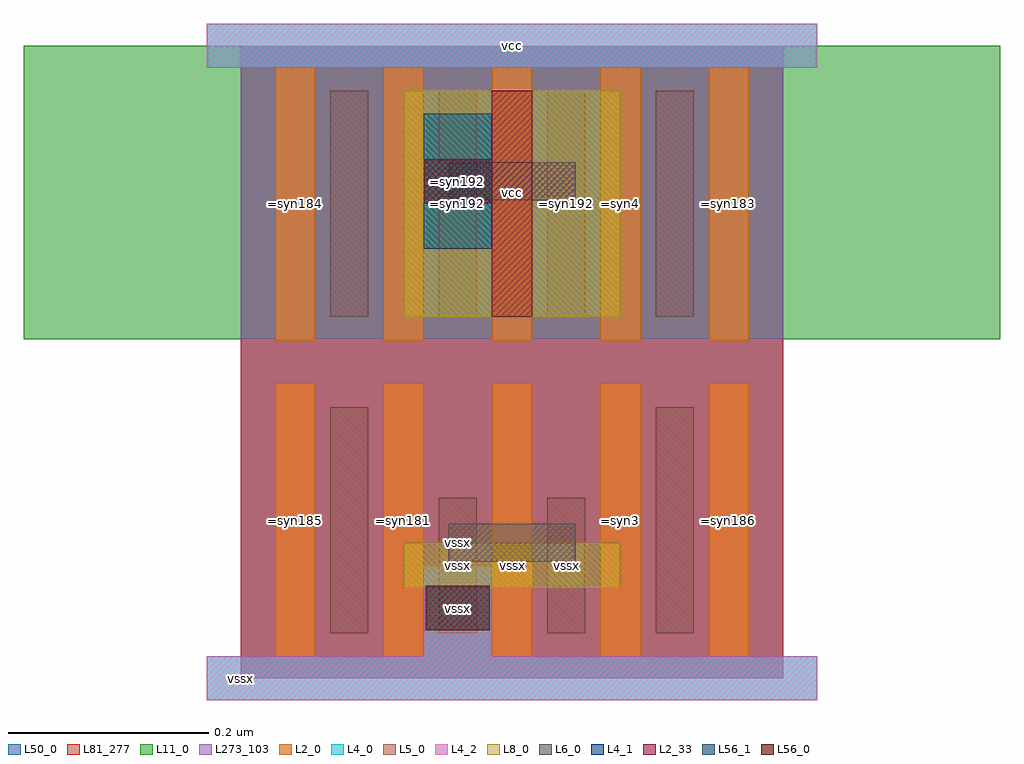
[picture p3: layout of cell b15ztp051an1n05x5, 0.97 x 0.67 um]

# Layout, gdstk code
import gdstk
lib = gdstk.Library(unit=1e-6, precision=5e-10)
def R(c, l, rs):  # rectangles x0, y0, x1, y1
    for r in rs: c.add(gdstk.rectangle(r[:2], r[2:], *l))
def A(c, l, x, y, w, h, nx, ny, dx, dy):  # array of equal rectangles
    R(c, l, [(x+i*dx, y+j*dy, x+i*dx+w, y+j*dy+h) for i in range(nx) for j in range(ny)])
def P(c, l, *ps):  # polygons
    for p in ps: c.add(gdstk.Polygon(p, *l))
L2_0 = (2, 0)
L2_33 = (2, 33)
L4_0 = (4, 0)
L4_1 = (4, 1)
L4_2 = (4, 2)
L5_0 = (5, 0)
L6_0 = (6, 0)
L8_0 = (8, 0)
L11_0 = (11, 0)
L50_0 = (50, 0)
L56_0 = (56, 0)
L56_1 = (56, 1)
L81_277 = (81, 277)
L273_103 = (273, 103)

b15ztp051an1n05x5 = lib.new_cell('b15ztp051an1n05x5')
A(b15ztp051an1n05x5, L2_0, 0.034, 0.021, 0.04, 0.273, 5, 2, 0.108, 0.315)
R(b15ztp051an1n05x5, L2_33, [(0.25,0.36,0.29,0.585)])
R(b15ztp051an1n05x5, L4_0, [(0.182,0.428,0.25,0.562), (-0.034,0.608,0.574,0.652)])
P(b15ztp051an1n05x5, L4_0, [(0.574,-0.022),(-0.034,-0.022),(-0.034,0.022),(0.182,0.022),(0.182,0.112),(0.25,0.112),(0.25,0.022),(0.574,0.022)])
R(b15ztp051an1n05x5, L4_1, [(0.182,0.428,0.25,0.562)])
R(b15ztp051an1n05x5, L4_2, [(-0.034,0.608,0.574,0.652)])
P(b15ztp051an1n05x5, L4_2, [(0.574,-0.022),(-0.034,-0.022),(-0.034,0.022),(0.182,0.022),(0.182,0.112),(0.25,0.112),(0.25,0.022),(0.574,0.022)])
A(b15ztp051an1n05x5, L5_0, 0.089, 0.36, 0.038, 0.225, 4, 1, 0.108, 0)
R(b15ztp051an1n05x5, L5_0, [(0.089,0.045,0.127,0.27), (0.197,0.045,0.235,0.18), (0.305,0.045,0.343,0.18), (0.413,0.045,0.451,0.27)])
R(b15ztp051an1n05x5, L6_0, [(0.207,0.116,0.333,0.154), (0.207,0.476,0.333,0.514)])
R(b15ztp051an1n05x5, L8_0, [(0.162,0.09,0.378,0.135), (0.162,0.36,0.378,0.585)])
R(b15ztp051an1n05x5, L11_0, [(-0.216,0.3375,0.756,0.63)])
R(b15ztp051an1n05x5, L50_0, [(0,0,0.54,0.63)])
R(b15ztp051an1n05x5, L56_0, [(0.184,0.048,0.248,0.092), (0.182,0.473,0.25,0.517)])
R(b15ztp051an1n05x5, L56_1, [(0.184,0.048,0.248,0.092), (0.182,0.473,0.25,0.517)])
R(b15ztp051an1n05x5, L81_277, [(0,0,0.54,0.63)])
R(b15ztp051an1n05x5, L273_103, [(0,0.3375,0.54,0.63)])
b15ztp051an1n05x5.add(gdstk.Label('vssx', (0,0), layer=81, texttype=6))
b15ztp051an1n05x5.add(gdstk.Label('vssx', (0.216,0.07), layer=56, texttype=1))
b15ztp051an1n05x5.add(gdstk.Label('vcc', (0.27,0.484), layer=11, texttype=0))
b15ztp051an1n05x5.add(gdstk.Label('=syn192', (0.216,0.4725), layer=8, texttype=0))
b15ztp051an1n05x5.add(gdstk.Label('=syn192', (0.216,0.495), layer=4, texttype=0))
b15ztp051an1n05x5.add(gdstk.Label('vcc', (0.27,0.63), layer=4, texttype=0))
b15ztp051an1n05x5.add(gdstk.Label('vssx', (0.216,0.07), layer=4, texttype=0))
b15ztp051an1n05x5.add(gdstk.Label('vcc', (0.27,0.63), layer=4, texttype=2))
b15ztp051an1n05x5.add(gdstk.Label('vssx', (0.216,0.067), layer=4, texttype=2))
b15ztp051an1n05x5.add(gdstk.Label('=syn184', (0.054,0.4725), layer=2, texttype=0))
b15ztp051an1n05x5.add(gdstk.Label('=syn185', (0.054,0.1575), layer=2, texttype=0))
b15ztp051an1n05x5.add(gdstk.Label('=syn182', (0.162,0.4725), layer=2, texttype=0))
b15ztp051an1n05x5.add(gdstk.Label('=syn181', (0.162,0.1575), layer=2, texttype=0))
b15ztp051an1n05x5.add(gdstk.Label('=syn192', (0.27,0.4725), layer=2, texttype=0))
b15ztp051an1n05x5.add(gdstk.Label('vssx', (0.27,0.1125), layer=2, texttype=0))
b15ztp051an1n05x5.add(gdstk.Label('=syn4', (0.378,0.4725), layer=2, texttype=0))
b15ztp051an1n05x5.add(gdstk.Label('=syn3', (0.378,0.1575), layer=2, texttype=0))
b15ztp051an1n05x5.add(gdstk.Label('=syn183', (0.486,0.4725), layer=2, texttype=0))
b15ztp051an1n05x5.add(gdstk.Label('=syn186', (0.486,0.1575), layer=2, texttype=0))
b15ztp051an1n05x5.add(gdstk.Label('=syn192', (0.279,0.495), layer=6, texttype=0))
b15ztp051an1n05x5.add(gdstk.Label('vssx', (0.216,0.135), layer=6, texttype=0))
b15ztp051an1n05x5.add(gdstk.Label('=syn187', (0.108,0.4725), layer=5, texttype=0))
b15ztp051an1n05x5.add(gdstk.Label('=syn190', (0.108,0.1575), layer=5, texttype=0))
b15ztp051an1n05x5.add(gdstk.Label('=syn192', (0.216,0.495), layer=5, texttype=0))
b15ztp051an1n05x5.add(gdstk.Label('vssx', (0.216,0.1125), layer=5, texttype=0))
b15ztp051an1n05x5.add(gdstk.Label('=syn192', (0.324,0.4725), layer=5, texttype=0))
b15ztp051an1n05x5.add(gdstk.Label('vssx', (0.324,0.1125), layer=5, texttype=0))
b15ztp051an1n05x5.add(gdstk.Label('=syn189', (0.432,0.4725), layer=5, texttype=0))
b15ztp051an1n05x5.add(gdstk.Label('=syn188', (0.432,0.1575), layer=5, texttype=0))

lib.write_gds('b15ztp051an1n05x5.gds')
